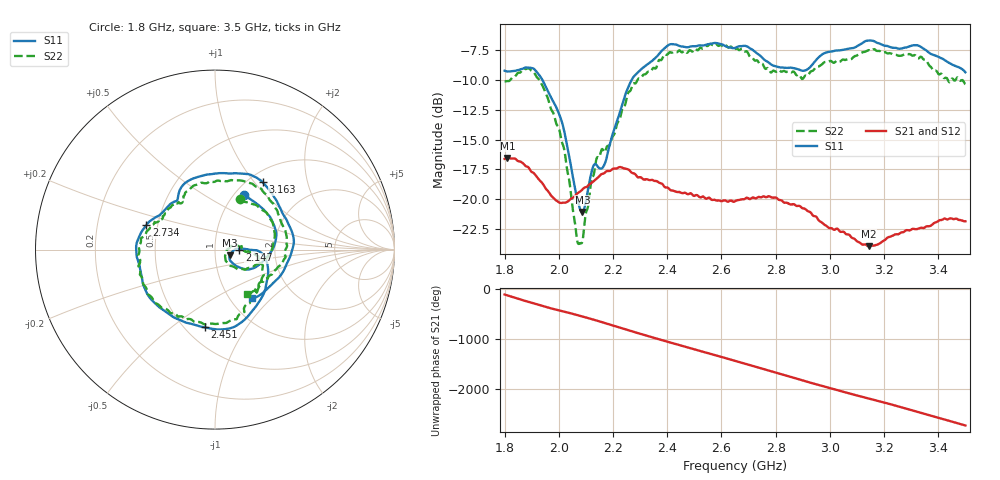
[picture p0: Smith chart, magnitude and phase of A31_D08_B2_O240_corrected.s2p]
! Created with skrf 1.9.0 (http://scikit-rf.org).
# Hz S RI R 50.0
!freq ReS11 ImS11 ReS21 ImS21 ReS12 ImS12 ReS22 ImS22
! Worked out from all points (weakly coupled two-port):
!   1601 points, 1.8 GHz to 3.5 GHz, reference 50 ohm
!   highest |S21| = -16.55 dB at 1.811 GHz (marker M1); lowest = -23.9 dB at 3.144 GHz (marker M2)
!   lowest |S11| = -21.1 dB at 2.087 GHz (marker M3), VSWR 1.19, Z = 58.9 - j3.67 ohm
!   |S11| at or under -10 dB: 1.939 GHz to 2.269 GHz (329.4 MHz wide, 15.7 % of centre)
!   |S22| runs from -23.8 to -6.9 dB; largest |S21 - S12| = 0.0028
!   S11 on the Smith chart (normalised r, x): 1.8 GHz: 1.11, +0.77; 2.147 GHz: 1.31, -0.01; 2.451 GHz: 0.62, -0.66; 2.734 GHz: 0.43, +0.14; 3.163 GHz: 1.16, +1.10; 3.5 GHz: 1.26, -0.77
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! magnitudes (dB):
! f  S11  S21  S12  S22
! 1.8 GHz  -9.2  -16.6  -16.6  -10.1
! 1.811 GHz  -9.3  -16.5  -16.6  -10.1
! 1.887 GHz  -9.0  -17.3  -17.4  -9.0
! 1.942 GHz  -10.1  -18.8  -18.8  -10.6
! 2.011 GHz  -13.5  -20.3  -20.3  -15.2
! 2.067 GHz  -19.8  -19.6  -19.6  -23.3
! 2.084 GHz  -21.1  -19.3  -19.2  -23.7
! 2.087 GHz  -21.1  -19.2  -19.2  -23.6
! 2.126 GHz  -17.3  -18.6  -18.5  -18.1
! 2.147 GHz  -17.4  -18.1  -18.1  -16.5
! 2.17 GHz  -17.0  -17.8  -17.8  -16.0
! 2.268 GHz  -10.1  -17.8  -17.7  -10.7
! 2.367 GHz  -7.9  -18.6  -18.5  -8.4
! 2.451 GHz  -7.2  -19.5  -19.5  -7.7
! 2.65 GHz  -7.3  -20.2  -20.2  -7.5
! 2.734 GHz  -7.8  -19.8  -19.9  -8.4
! 2.934 GHz  -8.8  -21.3  -21.2  -9.3
! 3.144 GHz  -6.7  -23.9  -23.9  -7.5
! 3.163 GHz  -6.7  -23.9  -23.9  -7.4
! 3.217 GHz  -7.2  -23.2  -23.2  -7.8
! 3.326 GHz  -7.1  -22.5  -22.5  -8.2
! 3.5 GHz  -9.4  -21.9  -21.9  -10.4
